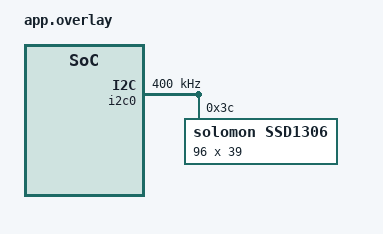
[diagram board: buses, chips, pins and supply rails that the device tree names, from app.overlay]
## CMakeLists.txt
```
cmake_minimum_required(VERSION 3.20.0)

find_package(Zephyr REQUIRED HINTS $ENV{ZEPHYR_BASE})
project(f91_jepler_watch)

target_include_directories(app PRIVATE src src/services)

target_sources(app PRIVATE
    src/logic/watch_logic.c
    src/main.c
    src/services/notification_service.c
    src/services/clock_service.c
)
```

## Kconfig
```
mainmenu "F91 watch"
source "Kconfig.zephyr"
config F91_TEST_BRIDGE
    bool "Emulator-only UART service test bridge"
    default n
    help
      Accept F91TEST commands on the console UART. Never enable on production
      hardware: this bypasses BLE security for controlled firmware testing.
```

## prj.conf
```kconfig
CONFIG_PRINTK=y
CONFIG_DISPLAY=y
CONFIG_I2C=y
CONFIG_CHARACTER_FRAMEBUFFER=y
CONFIG_SSD1306=y
CONFIG_HEAP_MEM_POOL_SIZE=16384

# Enable Bluetooth for OTA
CONFIG_BT=y
CONFIG_BT_PERIPHERAL=y
CONFIG_BT_DEVICE_NAME="F91_Jepler"

# Tell Zephyr to compile for MCUboot (offsets the firmware in flash)
CONFIG_BOOTLOADER_MCUBOOT=y

# Enable Flash and Image Management
CONFIG_FLASH=y
CONFIG_IMG_MANAGER=y

# Enable SMP (Simple Management Protocol) OTA Server
CONFIG_ZCBOR=y
CONFIG_STREAM_FLASH=y
CONFIG_FLASH_MAP=y
CONFIG_NET_BUF=y
CONFIG_MCUMGR=y
CONFIG_MCUMGR_TRANSPORT_BT=y
CONFIG_MCUMGR_GRP_OS=y
CONFIG_MCUMGR_GRP_IMG=y
```

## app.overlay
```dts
/* External timekeeping crystal; see Hardware/CLOCKING.md. */
&lfclk {
    k32src = "xtal";
    k32src-frequency = <32768>;
    k32src-accuracy-ppm = <50>;
};

&i2c0 {
	status = "okay";
	clock-frequency = <I2C_BITRATE_FAST>;

	ssd1306: ssd1306@3c {
		compatible = "solomon,ssd1306";
		reg = <0x3c>;
		width = <96>;
		height = <39>;
		segment-offset = <0>;
		page-offset = <0>;
		display-offset = <0>;
		multiplex-ratio = <38>;
		segment-remap;
		com-invdir;
		prechargep = <0x22>;
	};
};

/ {
	chosen {
		zephyr,display = &ssd1306;
	};
};
```

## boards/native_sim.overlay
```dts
/ {
	chosen {
		zephyr,display = &sdl_dc;
	};
};

&sdl_dc {
	status = "okay";
	width = <96>;
	height = <39>;
};
```

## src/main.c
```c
#include <zephyr/kernel.h>
#include <zephyr/device.h>
#include <zephyr/display/cfb.h>
#include <zephyr/sys/printk.h>
#include <zephyr/drivers/gpio.h>
#include <zephyr/bluetooth/bluetooth.h>
#include <zephyr/bluetooth/conn.h>
#include <zephyr/bluetooth/uuid.h>
#include <zephyr/bluetooth/gatt.h>
#include <stdio.h>
#include <string.h>
#include <stdlib.h>
#include <errno.h>
#include <limits.h>
#include <zephyr/sys/atomic.h>
#include "logic/watch_logic.h"
#include <zephyr/drivers/uart.h>
#include <zephyr/sys/byteorder.h>

#include "services/notification_service.h"
#include "services/clock_service.h"

K_SEM_DEFINE(watch_wake, 0, 1);
K_MUTEX_DEFINE(notification_lock);
static atomic_t screen_dirty;
static char notification[NOTIF_CONTACT_STREAM_LEN + 1];
static uint16_t test_battery_mv;
static struct watch_ui ui;
static void dirty_screen(void)
{
    atomic_set(&screen_dirty, 1);
    k_sem_give(&watch_wake);
}
static uint32_t local_seconds(void) { return clock_service_get_local_seconds(); }

static const struct bt_data ad[] = {
	BT_DATA_BYTES(BT_DATA_FLAGS, (BT_LE_AD_GENERAL | BT_LE_AD_NO_BREDR)),
	BT_DATA(BT_DATA_NAME_COMPLETE, CONFIG_BT_DEVICE_NAME, sizeof(CONFIG_BT_DEVICE_NAME) - 1),
};

static const struct bt_data sd[] = {
	BT_DATA_BYTES(BT_DATA_UUID128_SOME, BT_UUID_NOTIFICATION_SERVICE_VAL),
};

static void on_notification_bar_changed(uint8_t bar_val)
{
	dirty_screen();
	printk("[SERVICE] Notification bar update: 0x%02x\n", bar_val);
}

static void on_incoming_call_received(const char *caller, uint16_t len)
{
	dirty_screen();
	k_mutex_lock(&notification_lock, K_FOREVER);
	snprintf(notification, sizeof(notification), "%.*s", len, caller);
	k_mutex_unlock(&notification_lock);
	dirty_screen();
	printk("[SERVICE] Incoming call from: %s\n", caller);
}

static void on_incoming_text_received(const char *text, uint16_t len)
{
	dirty_screen();
	k_mutex_lock(&notification_lock, K_FOREVER);
	snprintf(notification, sizeof(notification), "%.*s", len, text);
	k_mutex_unlock(&notification_lock);
	dirty_screen();
	printk("[SERVICE] Incoming text: %s\n", text);
}

static const struct notification_service_cb notif_cbs = {
	.bar_cb = on_notification_bar_changed,
	.call_cb = on_incoming_call_received,
	.text_cb = on_incoming_text_received,
};

static void on_clock_time_changed(uint32_t timestamp)
{
	dirty_screen();
	printk("[SERVICE] Clock time set to epoch: %u\n", timestamp);
}

static void on_clock_tz_changed(int16_t tz)
{
	/* Effective UTC offset already includes any DST adjustment. */
	dirty_screen();
	printk("[SERVICE] Clock timezone set to: %d\n", tz);
}

static void on_clock_timemode_changed(uint8_t mode)
{
	/* A display-format change must not reset elapsed time or the epoch base. */
	dirty_screen();
	printk("[SERVICE] Clock timemode set to: %u (%s)\n", mode, mode ? "24-hr" : "12-hr");
}

static void on_clock_dst_changed(uint8_t dst)
{
	dirty_screen();
	printk("[SERVICE] Clock DST set to: %u\n", dst);
}

static const struct clock_service_cb clock_cbs = {
	.time_cb = on_clock_time_changed,
	.tz_cb = on_clock_tz_changed,
	.timemode_cb = on_clock_timemode_changed,
	.dst_cb = on_clock_dst_changed,
};

static int draw_clock(const struct device *display, uint64_t seconds,
                      const bool pressed[3])
{
    unsigned int day_seconds = seconds % (24 * 60 * 60);
    unsigned int hour = day_seconds / 3600;
    char time_text[9];
    char label[] = "A B C";

    snprintf(time_text, sizeof(time_text), "%02u:%02u:%02u",
             (clock_service_get_timemode() ? hour : (hour % 12 ? hour % 12 : 12)), day_seconds / 60 % 60, day_seconds % 60);
    for (int i = 0; i < 3; i++) {
        if (!pressed[i]) label[i * 2] = '-';
    }
    cfb_framebuffer_clear(display, false);
    k_mutex_lock(&notification_lock, K_FOREVER);
    cfb_print(display, clock_service_get_timemode() ? "24H" : (hour < 12 ? "AM" : "PM"), 0, 0);
    if (notification[0]) cfb_print(display, notification, 24, 0);
    else if (notification_service_get_bar()) cfb_print(display, "NOTIF", 24, 0);
    k_mutex_unlock(&notification_lock);
    if (pressed[0] || pressed[1] || pressed[2]) cfb_print(display, label, 40, 0);
    cfb_print(display, clock_service_get_status() ? time_text : "Set time", 0, 16);
    return cfb_framebuffer_finalize(display);
}

#if DT_NODE_EXISTS(DT_ALIAS(watch_a))
static const struct gpio_dt_spec buttons[] = {
    GPIO_DT_SPEC_GET(DT_ALIAS(watch_a), gpios),
    GPIO_DT_SPEC_GET(DT_ALIAS(watch_b), gpios),
    GPIO_DT_SPEC_GET(DT_ALIAS(watch_c), gpios),
};
static struct gpio_callback button_callbacks[WATCH_BUTTONS];
static struct k_spinlock input_lock;
static struct { bool pending, down; int64_t at; } edges[WATCH_BUTTONS];
static void button_edge(const struct device *port, struct gpio_callback *callback, uint32_t pins)
{
    ARG_UNUSED(port); ARG_UNUSED(pins);
    unsigned i = callback - button_callbacks;
    int value = gpio_pin_get_dt(&buttons[i]);
    if (value < 0) return;
    k_spinlock_key_t key = k_spin_lock(&input_lock);
    edges[i].pending = true;
    edges[i].down = value != 0;
    edges[i].at = k_uptime_get();
    k_spin_unlock(&input_lock, key);
    k_sem_give(&watch_wake);
}
static void collect_edges(void)
{
    k_spinlock_key_t key = k_spin_lock(&input_lock);
    for (unsigned i = 0; i < WATCH_BUTTONS; ++i) {
        if (edges[i].pending) {
            watch_ui_edge(&ui, i, edges[i].down, edges[i].at);
            edges[i].pending = false;
        }
    }
    k_spin_unlock(&input_lock, key);
}
#endif

#ifdef CONFIG_F91_TEST_BRIDGE
/* Test-only transport: this does not exercise BLE radio, pairing or ATT. */
static void test_command(char *line, const bool pressed[3])
{
    unsigned long id;
    char *end;
    if (strncmp(line, "F91TEST ", 8)) return;
    id = strtoul(line + 8, &end, 10);
    if (end == line + 8 || *end != ' ' || id > UINT32_MAX) return;
    char *field = end + 1;
    char *hex = strchr(field, ' ');
    if (!hex) return;
    *hex++ = 0;
    uint8_t bytes[20];
    size_t len = !strcmp(hex, "-") ? 0 : strlen(hex) / 2;
    int err = 0;
    if (len > sizeof(bytes) || (strcmp(hex, "-") && strlen(hex) % 2)) err = -EMSGSIZE;
    for (size_t i = 0; !err && i < len; i++) {
        char pair[3] = {hex[i * 2], hex[i * 2 + 1], 0};
        if (!((pair[0] >= '0' && pair[0] <= '9') || (pair[0] >= 'a' && pair[0] <= 'f') || (pair[0] >= 'A' && pair[0] <= 'F')) ||
            !((pair[1] >= '0' && pair[1] <= '9') || (pair[1] >= 'a' && pair[1] <= 'f') || (pair[1] >= 'A' && pair[1] <= 'F'))) { err = -EINVAL; break; }
        bytes[i] = strtoul(pair, NULL, 16);
    }
    if (!err) {
        if (!strcmp(field, "ping") || !strcmp(field, "state")) {
            if (len) err = -EMSGSIZE;
            else if (!strcmp(field, "state"))
                printk("[TEST] STATE %lu buttons=%u seconds=%u mode=%u bar=%u battery_mv=%u clock_status=%u awake=%u\n", id,
                       pressed[0] | (pressed[1] << 1) | (pressed[2] << 2), local_seconds(),
                       clock_service_get_timemode(), notification_service_get_bar(), test_battery_mv, clock_service_get_status(), ui.awake);
        } else if (!strcmp(field, "battery")) {
            if (len != 2) err = -EMSGSIZE;
            else {
                uint16_t value = sys_get_le16(bytes);
                if (value < 2000 || value > 5000) err = -ERANGE;
                else test_battery_mv = value;
            }
        } else {
            err = clock_service_write(field, bytes, len, 0);
            if (err == -ENOENT) err = notification_service_write(field, bytes, len, 0);
        }
    }
    if (err) printk("[TEST] ACK %lu %s ERR %d\n", id, field, err);
    else printk("[TEST] ACK %lu %s OK\n", id, field);
}
static void poll_test_uart(const bool pressed[3])
{
    static char line[128];
    static size_t used;
    static bool overflow;
    unsigned char c;
    const struct device *uart = DEVICE_DT_GET(DT_CHOSEN(zephyr_console));
    while (!uart_poll_in(uart, &c)) {
        if (c == '\r') continue;
        if (c == '\n') {
            line[used] = 0;
            if (!overflow) test_command(line, pressed);
            else printk("[TEST] REJECT line-too-long\n");
            used = 0; overflow = false;
        } else if (used < sizeof(line) - 1) line[used++] = c;
        else overflow = true;
    }
}
#endif

int main(void)
{
    const struct device *display = DEVICE_DT_GET(DT_CHOSEN(zephyr_display));

    printk("F91 Jepler Emulation Environment Booting...\n");

    if (!device_is_ready(display)) {
        printk("Display device not ready\n");
        return 0;
    }

    if (display_set_pixel_format(display, PIXEL_FORMAT_MONO10) != 0) {
        if (display_set_pixel_format(display, PIXEL_FORMAT_MONO01) != 0) {
            printk("Failed to set required pixel format\n");
            return 0;
        }
    }

    if (cfb_framebuffer_init(display)) {
        printk("Framebuffer initialization failed!\n");
        return 0;
    }

    notification_service_init(&notif_cbs);
    clock_service_init(&clock_cbs);
    int bt_err = bt_enable(NULL);
    if (bt_err) {
        printk("Bluetooth init failed (err %d)\n", bt_err);
    } else {
        printk("Bluetooth initialized successfully\n");


        bt_err = bt_le_adv_start(BT_LE_ADV_CONN_FAST_1, ad, ARRAY_SIZE(ad), sd, ARRAY_SIZE(sd));
        if (bt_err) {
            printk("Advertising failed to start (err %d)\n", bt_err);
        } else {
            printk("BLE Advertising started (F91_Jepler)\n");
        }
    }

    bool pressed[WATCH_BUTTONS] = {false};
    watch_ui_init(&ui, k_uptime_get());
    uint32_t shown_seconds = UINT32_MAX;
    int err = display_blanking_off(display);
    if (!err) err = draw_clock(display, 0, pressed);
    if (err) { printk("Framebuffer write failed: %d\n", err); return 0; }
    printk("Watch screen ready\n");
    printk("Clock unsynchronized: Set time\n");

#if DT_NODE_EXISTS(DT_ALIAS(watch_a))
    for (unsigned i = 0; i < ARRAY_SIZE(buttons); i++) {
        if (!gpio_is_ready_dt(&buttons[i]) || gpio_pin_configure_dt(&buttons[i], GPIO_INPUT)) {
            printk("Button %c initialization failed\n", 'A' + i); return 0;
        }
        gpio_init_callback(&button_callbacks[i], button_edge, BIT(buttons[i].pin));
        if (gpio_add_callback(buttons[i].port, &button_callbacks[i]) ||
            gpio_pin_interrupt_configure_dt(&buttons[i], GPIO_INT_EDGE_BOTH)) {
            printk("Button %c interrupt initialization failed\n", 'A' + i); return 0;
        }
        button_edge(buttons[i].port, &button_callbacks[i], BIT(buttons[i].pin));
    }
#endif
#ifdef CONFIG_F91_TEST_BRIDGE
    printk("[TEST] READY v1\n");
#endif
    while (1) {
#if DT_NODE_EXISTS(DT_ALIAS(watch_a))
        collect_edges();
#endif
        int64_t now = k_uptime_get();
        struct watch_events events = watch_ui_update(&ui, now);
        for (unsigned i = 0; i < WATCH_BUTTONS; ++i) {
            pressed[i] = ui.buttons[i].pressed;
            if (events.pressed & BIT(i)) printk("Button %c pressed\n", 'A' + i);
            if (events.released & BIT(i)) printk("Button %c released (%lld ms)\n", 'A' + i,
                (long long)(now - ui.buttons[i].pressed_at));
            if (events.short_press & BIT(i)) printk("Button %c short\n", 'A' + i);
            if (events.long_press & BIT(i)) printk("Button %c long\n", 'A' + i);
        }
        if (events.short_press & BIT(2)) {
            k_mutex_lock(&notification_lock, K_FOREVER);
            notification[0] = 0;
            k_mutex_unlock(&notification_lock);
            dirty_screen();
        }
#ifdef CONFIG_F91_TEST_BRIDGE
        poll_test_uart(pressed);
#endif
        if (events.slept && !events.woke) {
            err = display_blanking_on(display);
            printk("Display asleep (%d)\n", err);
        }
        if (events.woke) {
            err = display_blanking_off(display);
            printk("Display awake (%d)\n", err);
            dirty_screen();
        }
        uint32_t seconds = local_seconds();
        bool dirty = atomic_set(&screen_dirty, 0) != 0;
        if (ui.awake && (dirty || events.pressed || events.released || seconds != shown_seconds)) {
            shown_seconds = seconds;
            err = draw_clock(display, seconds, pressed);
            if (err) printk("Framebuffer write failed: %d\n", err);
        }
        /* Only the emulator UART bridge polls. Hardware sleeps until an edge,
         * debounce/long-press deadline, display tick or BLE callback. */
        int64_t next = watch_ui_deadline(&ui);
        if (ui.awake && clock_service_get_status() && next > now + 1000) next = now + 1000;
#ifdef CONFIG_F91_TEST_BRIDGE
        if (next > now + 10) next = now + 10;
#endif
        int64_t remaining = next - k_uptime_get();
        k_sem_take(&watch_wake, next == INT64_MAX ? K_FOREVER : K_MSEC(remaining > 0 ? remaining : 0));
    }
    return 0;
}
```
